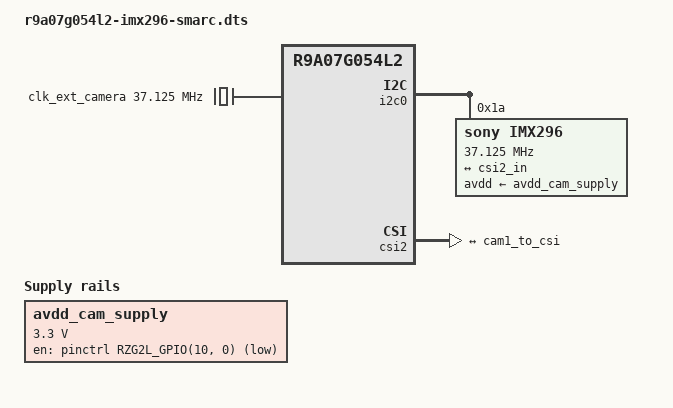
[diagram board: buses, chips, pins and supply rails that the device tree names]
// SPDX-License-Identifier: (GPL-2.0-only OR BSD-2-Clause)
/*
 * Device Tree Source for the RZ/V2L SMARC MXT board variant
 *
 * Copyright (C) 2024 MXT Creation SRL
 */

/dts-v1/;
#include "r9a07g054l2-mxt-smarc.dts"

/ {
	avdd_cam_supply: 3p3v {
		compatible = "regulator-fixed";
		regulator-name = "avdd_cam_supply";
		regulator-min-microvolt = <3300000>;
		regulator-max-microvolt = <3300000>;
		gpios = <&pinctrl RZG2L_GPIO(10, 0) 0>;
		startup-delay-us = <300000>;
	};
};

&clk_ext_camera {
	compatible = "fixed-clock";
	#clock-cells = <0>;
	clock-frequency = <37125000>;
};

&i2c0 {
	pinctrl-0 = <&i2c0_pins>;
	pinctrl-names = "default";

	imx296: imx296@1a {
		compatible = "sony,imx296";
		reg = <0x1a>;
		clock-names = "inck";
		clocks = <&clk_ext_camera>;
		clock-frequency = <37125000>;
		avdd-supply = <&avdd_cam_supply>;

		port {
			cam1_to_csi: endpoint {
				clock-lanes = <0>;
				data-lanes = <1>;
				remote-endpoint = <&csi2_in>;
			};
		};
	};

	/delete-node/ camera@3c;
};

&csi2 {
	status = "okay";

	ports {
		port {
			csi2_in: endpoint {
				clock-lanes = <0>;
				data-lanes = <1>;
				remote-endpoint = <&cam1_to_csi>;
			};
		};
	};
};

